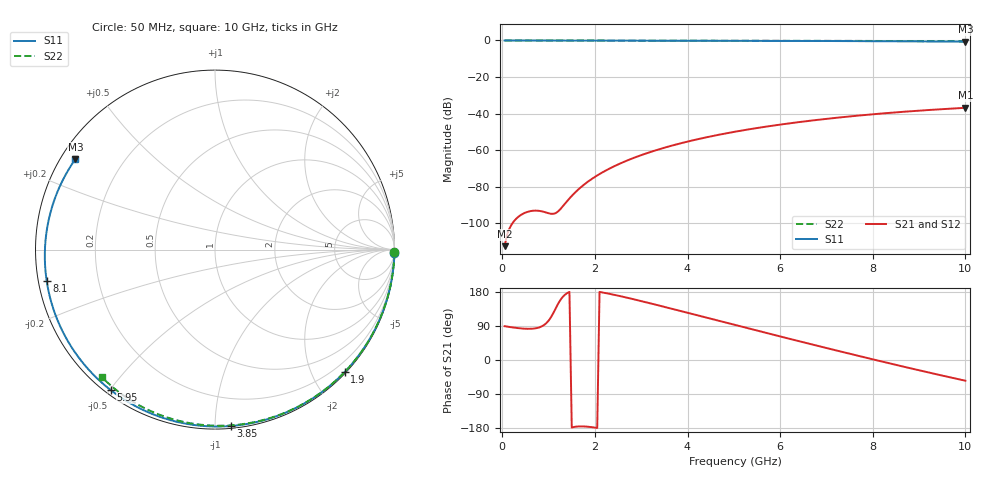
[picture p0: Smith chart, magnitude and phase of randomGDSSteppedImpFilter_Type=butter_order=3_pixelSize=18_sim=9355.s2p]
! freq	dB(S11)	phase(S11)	dB(S12)	phase(S12)
!  dB(S21)	phase(S21)	dB(S22)	phase(S22)
!S-par simulation data
#  GHz  S  DB  R 50
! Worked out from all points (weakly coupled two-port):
!   200 points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, 50 MHz to 10 GHz, reference 50 ohm
!   highest |S21| = -36.82 dB at 10 GHz (marker M1); lowest = -112.4 dB at 50 MHz (marker M2)
!   lowest |S11| = -0.7 dB at 10 GHz (marker M3), VSWR 26.40, Z = 2.06 + j14.8 ohm
!   |S11| at or under -10 dB: nowhere
!   |S22| runs from -0.4 to 0.0 dB; largest |S21 - S12| = 0
!   S11 on the Smith chart (normalised r, x): 50 MHz: 0, -98; 1.9 GHz: 0.02, -2.51; 3.85 GHz: 0.01, -1.09; 5.95 GHz: 0.02, -0.50; 8.1 GHz: 0.02, -0.09; 10 GHz: 0.04, +0.30
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0.05  -0.00 -1.2  -112.45 89.2  -112.45 89.2  -0.00 -0.8
0.45  -0.01 -10.4  -94.67 82.9  -94.67 82.9  -0.01 -6.8
0.85  -0.03 -19.7  -93.38 88.6  -93.38 88.6  -0.02 -12.8
1.7  -0.05 -38.9  -80.15 -175.1  -80.15 -175.1  -0.03 -25.5
1.75  -0.05 -40.0  -79.11 -175.2  -79.11 -175.2  -0.03 -26.2
1.9  -0.06 -43.4  -76.27 -176.7  -76.27 -176.7  -0.04 -28.4
2.2  -0.06 -50.0  -71.57 177.4  -71.57 177.4  -0.04 -32.8
2.55  -0.07 -57.6  -67.20 168.4  -67.20 168.4  -0.05 -37.9
2.95  -0.09 -66.2  -63.14 156.9  -63.14 156.9  -0.06 -43.6
3.4  -0.10 -75.6  -59.38 143.3  -59.38 143.3  -0.07 -49.9
3.85  -0.12 -84.9  -56.22 129.3  -56.22 129.3  -0.08 -56.2
4.45  -0.14 -97.0  -52.71 110.5  -52.71 110.5  -0.09 -64.3
5.05  -0.17 -108.9  -49.77 91.7  -49.77 91.7  -0.11 -72.3
5.95  -0.22 -126.5  -46.17 63.7  -46.17 63.7  -0.14 -83.8
6.7  -0.28 -141.1  -43.72 40.7  -43.72 40.7  -0.18 -93.1
7.4  -0.34 -155.0  -41.78 19.6  -41.78 19.6  -0.22 -101.6
8.1  -0.41 -169.3  -40.13 -1.2  -40.13 -1.2  -0.27 -109.9
8.35  -0.44 -174.6  -39.60 -8.5  -39.60 -8.5  -0.29 -112.8
8.8  -0.49 175.6  -38.73 -21.5  -38.73 -21.5  -0.33 -118.0
9.2  -0.55 166.5  -38.03 -32.8  -38.03 -32.8  -0.36 -122.5
9.6  -0.60 157.0  -37.40 -43.9  -37.40 -43.9  -0.40 -127.1
10  -0.66 147.0  -36.82 -54.7  -36.82 -54.7  -0.45 -131.6
